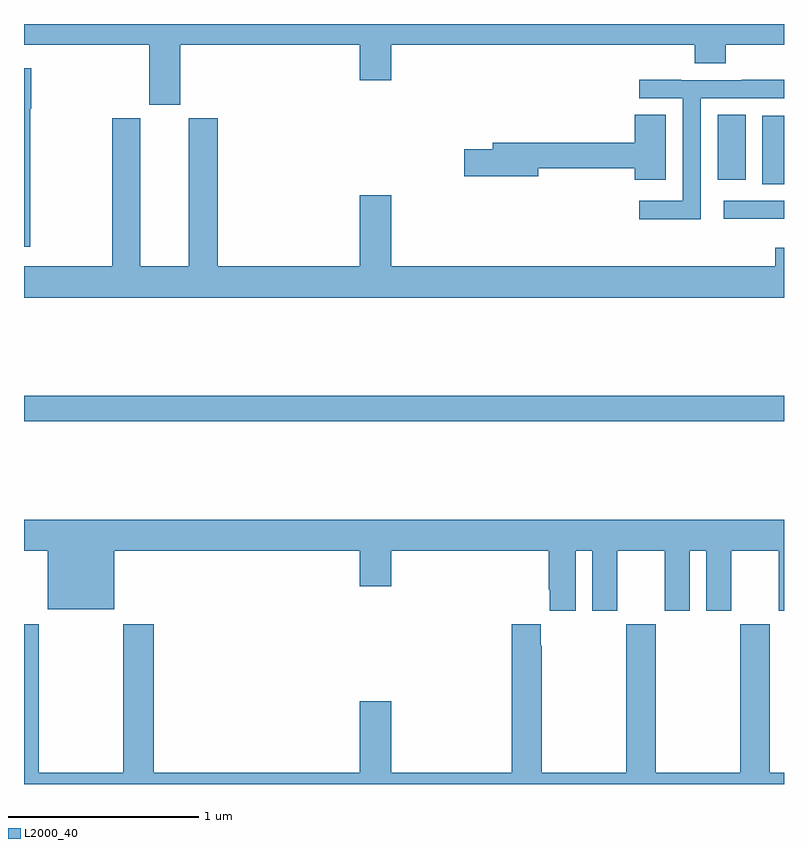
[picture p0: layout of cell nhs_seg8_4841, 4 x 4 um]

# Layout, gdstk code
import gdstk
lib = gdstk.Library(unit=1e-6, precision=1e-09)
def R(c, l, rs):  # rectangles x0, y0, x1, y1
    for r in rs: c.add(gdstk.rectangle(r[:2], r[2:], *l))
def P(c, l, *ps):  # polygons
    for p in ps: c.add(gdstk.Polygon(p, *l))
L2000_40 = (2000, 40)

nhs_seg8_4841 = lib.new_cell('nhs_seg8_4841')
R(nhs_seg8_4841, L2000_40, [(403,1155.808,407,1155.944), (406.683,1156.874,407,1156.971), (406.886,1157.056,407,1157.416), (406.652,1157.079,406.798,1157.423)])
P(nhs_seg8_4841, L2000_40, [(403.822,1157.792),(404.768,1157.792),(404.768,1157.604),(404.932,1157.604),(404.932,1157.792),(406.529,1157.792),(406.529,1157.693),(406.694,1157.693),(406.694,1157.792),(407,1157.792),(407,1157.9),(403,1157.9),(403,1157.792),(403.658,1157.792),(403.658,1157.475),(403.822,1157.475)],
  [(403.032,1157.455),(403.037,1157.455),(403.037,1157.668),(403,1157.668),(403,1156.728),(403.032,1156.728)],
  [(406.563,1157.508),(407,1157.508),(407,1157.606),(406.777,1157.606),(406.777,1157.604),(406.46,1157.604),(406.46,1157.606),(406.239,1157.606),(406.239,1157.508),(406.467,1157.508),(406.467,1156.971),(406.239,1156.971),(406.239,1156.873),(406.563,1156.873)],
  [(406.378,1157.423),(406.214,1157.423),(406.214,1157.276),(405.467,1157.276),(405.467,1157.24),(405.318,1157.24),(405.318,1157.098),(405.706,1157.098),(405.706,1157.14),(406.214,1157.14),(406.214,1157.079),(406.378,1157.079)],
  [(403.465,1157.403),(403.465,1156.624),(403,1156.624),(403,1156.46),(407,1156.46),(407,1156.723),(406.955,1156.723),(406.955,1156.624),(404.932,1156.624),(404.932,1156.999),(404.768,1156.999),(404.768,1156.624),(404.021,1156.624),(404.021,1157.403),(403.868,1157.403),(403.868,1156.624),(403.612,1156.624),(403.612,1157.403)],
  [(405.904,1155.128),(405.992,1155.128),(405.992,1154.811),(406.123,1154.811),(406.123,1155.128),(406.373,1155.128),(406.373,1154.811),(406.504,1154.811),(406.504,1155.128),(406.592,1155.128),(406.592,1154.811),(406.723,1154.811),(406.723,1155.128),(406.973,1155.128),(406.973,1154.811),(407,1154.811),(407,1155.292),(403,1155.292),(403,1155.128),(403.124,1155.128),(403.124,1154.819),(403.474,1154.819),(403.474,1155.128),(404.768,1155.128),(404.768,1154.94),(404.932,1154.94),(404.932,1155.128),(405.761,1155.128),(405.761,1154.923),(405.767,1154.923),(405.767,1154.811),(405.904,1154.811)],
  [(403.682,1154.74),(403.522,1154.74),(403.522,1153.96),(403.077,1153.96),(403.077,1154.74),(403,1154.74),(403,1153.9),(407,1153.9),(407,1153.96),(406.926,1153.96),(406.926,1154.74),(406.771,1154.74),(406.771,1153.96),(406.326,1153.96),(406.326,1154.74),(406.171,1154.74),(406.171,1153.96),(405.726,1153.96),(405.726,1154.627),(405.721,1154.627),(405.721,1154.74),(405.566,1154.74),(405.566,1153.96),(404.932,1153.96),(404.932,1154.335),(404.768,1154.335),(404.768,1153.96),(403.682,1153.96)])

lib.write_gds('nhs_seg8_4841.gds')
